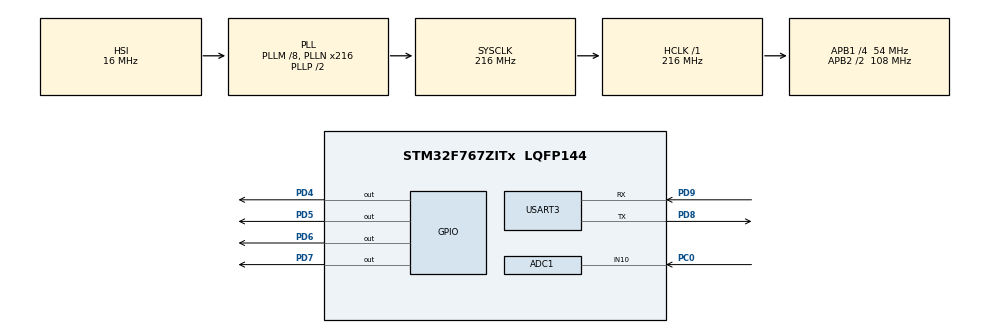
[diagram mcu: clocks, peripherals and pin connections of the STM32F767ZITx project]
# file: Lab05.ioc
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ADC1.Channel-0\#ChannelRegularConversion=ADC_CHANNEL_10
ADC1.ContinuousConvMode=ENABLE
ADC1.EOCSelection=ADC_EOC_SEQ_CONV
ADC1.NbrOfConversionFlag=1
ADC1.Rank-0\#ChannelRegularConversion=1
ADC1.SamplingTime-0\#ChannelRegularConversion=ADC_SAMPLETIME_3CYCLES
ADC1.master=1
Mcu.Family=STM32F7
Mcu.Name=STM32F767ZITx
Mcu.Package=LQFP144
NVIC.PriorityGroup=NVIC_PRIORITYGROUP_4
PC0.Signal=ADCx_IN10
PD4.Signal=GPIO_Output
PD5.Signal=GPIO_Output
PD6.Signal=GPIO_Output
PD7.Signal=GPIO_Output
PD8.Mode=Asynchronous
PD8.Signal=USART3_TX
PD9.Mode=Asynchronous
PD9.Signal=USART3_RX
ProjectManager.HeapSize=0x200
ProjectManager.StackSize=0x400
ProjectManager.TargetToolchain=STM32CubeIDE
RCC.AHBFreq_Value=216000000
RCC.APB1CLKDivider=RCC_HCLK_DIV4
RCC.APB1Freq_Value=54000000
RCC.APB1TimFreq_Value=108000000
RCC.APB2CLKDivider=RCC_HCLK_DIV2
RCC.APB2Freq_Value=108000000
RCC.APB2TimFreq_Value=216000000
RCC.CortexFreq_Value=216000000
RCC.HCLKFreq_Value=216000000
RCC.HSE_VALUE=25000000
RCC.HSI_VALUE=16000000
RCC.LSE_VALUE=32768
RCC.PLLM=8
RCC.PLLN=216
RCC.SYSCLKFreq_VALUE=216000000
RCC.SYSCLKSource=RCC_SYSCLKSOURCE_PLLCLK
RCC.USBFreq_Value=216000000
RCC.VCOOutputFreq_Value=432000000
SH.ADCx_IN10.0=ADC1_IN10,IN10
USART3.VirtualMode-Asynchronous=VM_ASYNC
board=custom

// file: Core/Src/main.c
/* USER CODE BEGIN Header */
/**
 ******************************************************************************
 * @file           : main.c
 * @brief          : Main program body
 ******************************************************************************
 * @attention
 *
 * Copyright (c) 2023 STMicroelectronics.
 * All rights reserved.
 *
 * This software is licensed under terms that can be found in the LICENSE file
 * in the root directory of this software component.
 * If no LICENSE file comes with this software, it is provided AS-IS.
 *
 ******************************************************************************
 */
/* USER CODE END Header */
#include "main.h"
#include "adc.h"
#include "usart.h"
#include "gpio.h"

void SystemClock_Config(void);
static void MPU_Initialize(void);
static void MPU_Config(void);

/* USER CODE BEGIN 0 */
void displayHEX(uint32_t);
int average_8(int);
int average_16(int);
volatile uint32_t adc_val = 0;
int adc_avg_8;
int adc_avg_16;
int state[5][4] = { { 0, 0, 0, 0 }, { 1, 0, 0, 0 }, { 1, 1, 0, 0 },
		{ 1, 1, 1, 0 }, { 1, 1, 1, 1 } };
int ledState = 0;
/* USER CODE END 0 */

int main(void) {

	/* MCU Configuration--------------------------------------------------------*/

	/* Reset of all peripherals, Initializes the Flash interface and the Systick. */
	HAL_Init();

	/* MPU Configuration--------------------------------------------------------*/
	MPU_Config();

	/* Configure the system clock */
	SystemClock_Config();

	/* Initialize all configured peripherals */
	MX_GPIO_Init();
	MX_ADC1_Init();
	MX_USART3_UART_Init();
	/* USER CODE BEGIN 2 */

	HAL_ADC_Start(&hadc1);
	/* USER CODE END 2 */

	/* Infinite loop */
	while (1) {

		/* USER CODE BEGIN 3 */
		while (HAL_ADC_PollForConversion(&hadc1, 100) != HAL_OK) {
		}
		adc_val = HAL_ADC_GetValue(&hadc1);
		while (__HAL_UART_GET_FLAG(&huart3,UART_FLAG_TC) == RESET) {
		}
		displayHEX(adc_val);
		HAL_Delay(400);
		adc_avg_8 = average_8(adc_val);
		adc_avg_16 = average_16(adc_val);

		if (adc_val < 820)
			ledState = 0;
		else if (adc_val >= 820 && adc_val < 1640)
			ledState = 1;
		else if (adc_val >= 1640 && adc_val < 2460)
			ledState = 2;
		else if (adc_val >= 2460 && adc_val < 3280)
			ledState = 3;
		else
			ledState = 4;

		HAL_GPIO_WritePin(GPIOD, GPIO_PIN_4, state[ledState][0]);
		HAL_GPIO_WritePin(GPIOD, GPIO_PIN_5, state[ledState][1]);
		HAL_GPIO_WritePin(GPIOD, GPIO_PIN_6, state[ledState][2]);
		HAL_GPIO_WritePin(GPIOD, GPIO_PIN_7, state[ledState][3]);

	}
	/* USER CODE END 3 */
}

void SystemClock_Config(void) {
	RCC_OscInitTypeDef RCC_OscInitStruct = { 0 };
	RCC_ClkInitTypeDef RCC_ClkInitStruct = { 0 };

	/** Configure the main internal regulator output voltage
	 */
	__HAL_RCC_PWR_CLK_ENABLE();
	__HAL_PWR_VOLTAGESCALING_CONFIG(PWR_REGULATOR_VOLTAGE_SCALE1);

	/** Initializes the RCC Oscillators according to the specified parameters
	 * in the RCC_OscInitTypeDef structure.
	 */
	RCC_OscInitStruct.OscillatorType = RCC_OSCILLATORTYPE_HSI;
	RCC_OscInitStruct.HSIState = RCC_HSI_ON;
	RCC_OscInitStruct.HSICalibrationValue = RCC_HSICALIBRATION_DEFAULT;
	RCC_OscInitStruct.PLL.PLLState = RCC_PLL_ON;
	RCC_OscInitStruct.PLL.PLLSource = RCC_PLLSOURCE_HSI;
	RCC_OscInitStruct.PLL.PLLM = 8;
	RCC_OscInitStruct.PLL.PLLN = 216;
	RCC_OscInitStruct.PLL.PLLP = RCC_PLLP_DIV2;
	RCC_OscInitStruct.PLL.PLLQ = 2;
	RCC_OscInitStruct.PLL.PLLR = 2;
	if (HAL_RCC_OscConfig(&RCC_OscInitStruct) != HAL_OK) {
		Error_Handler();
	}

	/** Activate the Over-Drive mode
	 */
	if (HAL_PWREx_EnableOverDrive() != HAL_OK) {
		Error_Handler();
	}

	/** Initializes the CPU, AHB and APB buses clocks
	 */
	RCC_ClkInitStruct.ClockType = RCC_CLOCKTYPE_HCLK | RCC_CLOCKTYPE_SYSCLK
			| RCC_CLOCKTYPE_PCLK1 | RCC_CLOCKTYPE_PCLK2;
	RCC_ClkInitStruct.SYSCLKSource = RCC_SYSCLKSOURCE_PLLCLK;
	RCC_ClkInitStruct.AHBCLKDivider = RCC_SYSCLK_DIV1;
	RCC_ClkInitStruct.APB1CLKDivider = RCC_HCLK_DIV4;
	RCC_ClkInitStruct.APB2CLKDivider = RCC_HCLK_DIV2;

	if (HAL_RCC_ClockConfig(&RCC_ClkInitStruct, FLASH_LATENCY_7) != HAL_OK) {
		Error_Handler();
	}
}

/* USER CODE BEGIN 4 */
void displayHEX(uint32_t n) {
	char str[100];
	sprintf(str, "ADC1_CH10 0x%08X Vin = %.2f V\n\r", n,
			(float) n / 4095 * 3.3);
	HAL_UART_Transmit(&huart3, (uint8_t*) str, strlen(str), 1000);
}

int average_8(int x) {
	static int samples[8];
	static int i = 0;
	static int total = 0;
	total += x - samples[i];
	samples[i] = x;
	i = (i == 7 ? 0 : i + 1);
	return total >> 3;
}

int average_16(int x) {
	static int samples[16];
	static int i = 0;
	static int total = 0;
	total += x - samples[i];
	samples[i] = x;
	i = (i == 15 ? 0 : i + 1);
	return total >> 4;
}
/* USER CODE END 4 */

/* MPU Configuration */

void MPU_Config(void) {
	MPU_Region_InitTypeDef MPU_InitStruct = { 0 };

	/* Disables the MPU */
	HAL_MPU_Disable();

	/** Initializes and configures the Region and the memory to be protected
	 */
	MPU_InitStruct.Enable = MPU_REGION_ENABLE;
	MPU_InitStruct.Number = MPU_REGION_NUMBER0;
	MPU_InitStruct.BaseAddress = 0x0;
	MPU_InitStruct.Size = MPU_REGION_SIZE_4GB;
	MPU_InitStruct.SubRegionDisable = 0x87;
	MPU_InitStruct.TypeExtField = MPU_TEX_LEVEL0;
	MPU_InitStruct.AccessPermission = MPU_REGION_NO_ACCESS;
	MPU_InitStruct.DisableExec = MPU_INSTRUCTION_ACCESS_DISABLE;
	MPU_InitStruct.IsShareable = MPU_ACCESS_SHAREABLE;
	MPU_InitStruct.IsCacheable = MPU_ACCESS_NOT_CACHEABLE;
	MPU_InitStruct.IsBufferable = MPU_ACCESS_NOT_BUFFERABLE;

	HAL_MPU_ConfigRegion(&MPU_InitStruct);
	/* Enables the MPU */
	HAL_MPU_Enable(MPU_PRIVILEGED_DEFAULT);

}

void Error_Handler(void) {
	__disable_irq();
	while (1) {
	}
}
